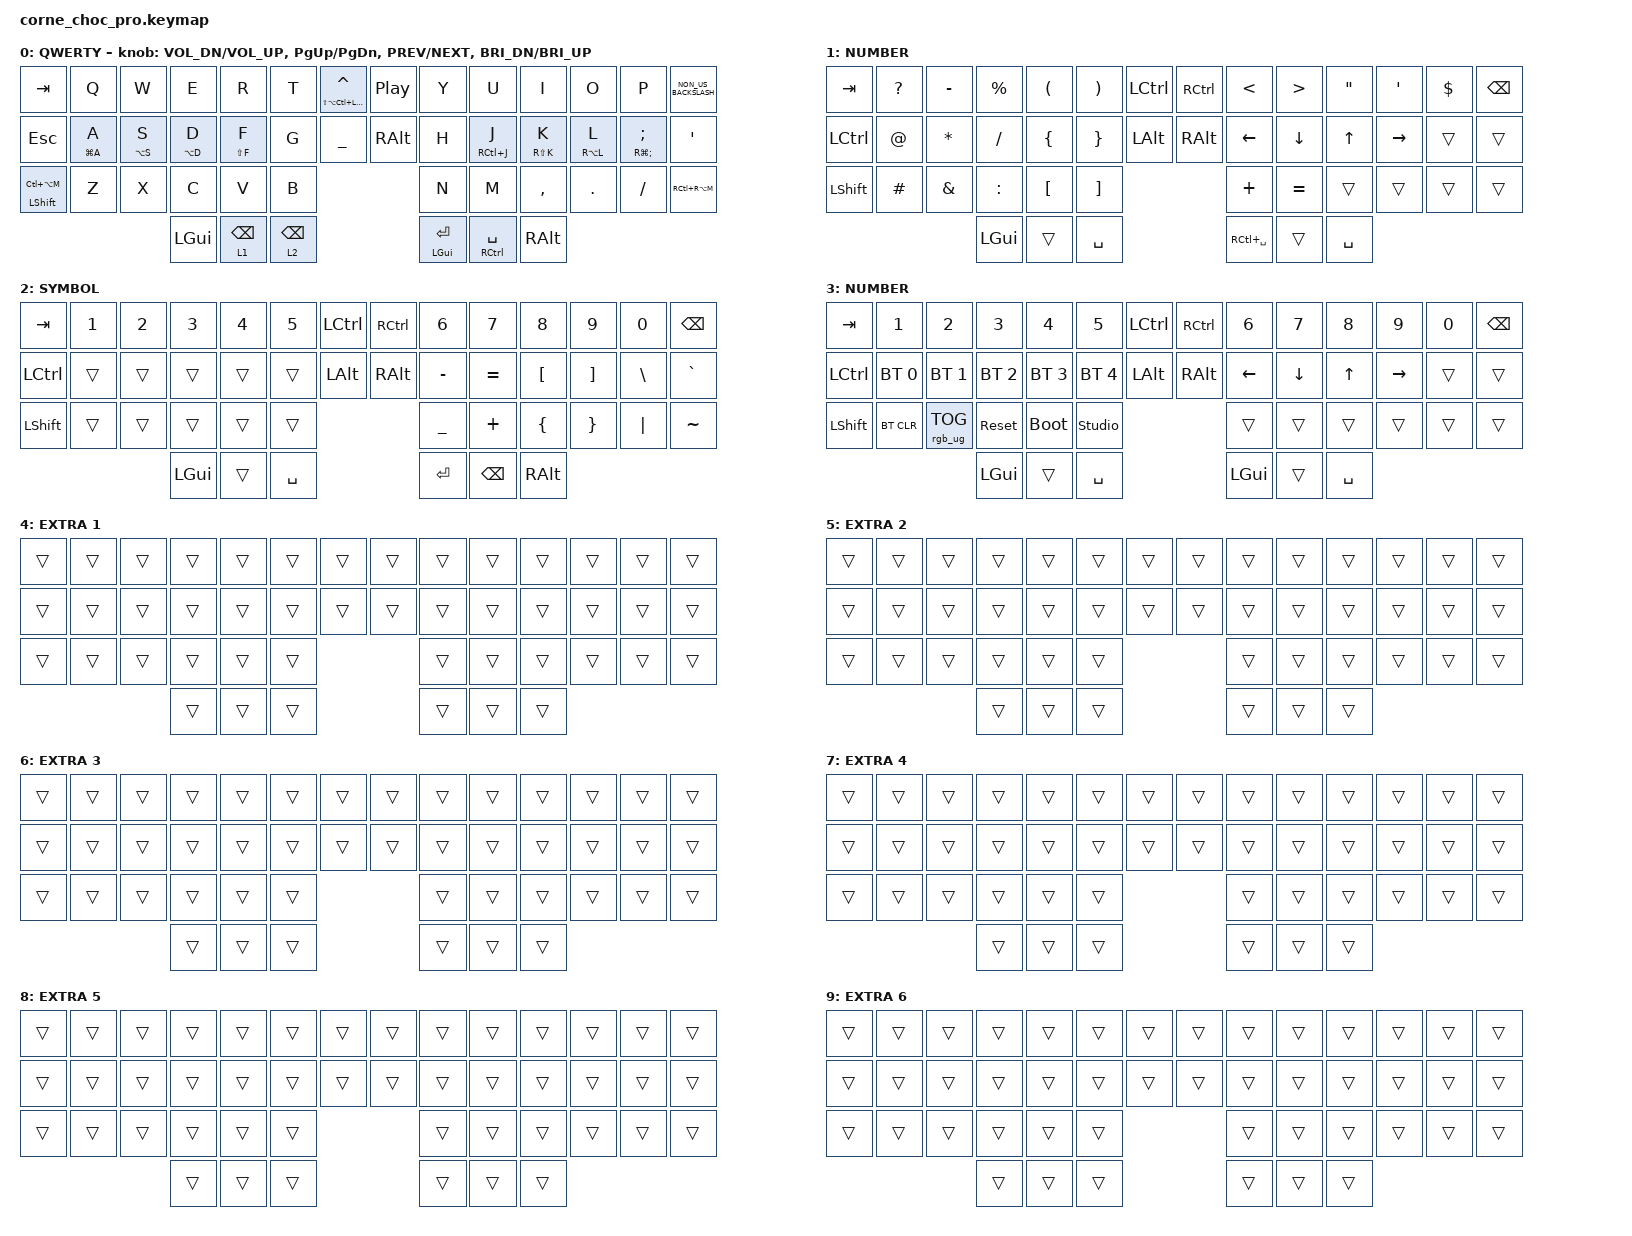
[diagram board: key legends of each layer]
/*
 * Copyright (c) 2020 The ZMK Contributors
 *
 * SPDX-License-Identifier: MIT
 */

#include <behaviors.dtsi>
#include <dt-bindings/zmk/bt.h>
#include <dt-bindings/zmk/keys.h>
#include <dt-bindings/zmk/rgb.h>

/ {
    chosen { zmk,physical-layout = &default_layout; };
};

/ {
    combos {
        compatible = "zmk,combos";

        cmd-space {
            bindings = <&kp RG(SPACE)>;
            key-positions = <42 43>;
        };

        boot {
            bindings = <&bootloader>;
            key-positions = <6 20 7 21>;
        };
    };

    behaviors {
        hmj: hmj {
            compatible = "zmk,behavior-hold-tap";
            label = "HMJ";
            bindings = <&kp>, <&kp>;

            #binding-cells = <2>;
            tapping-term-ms = <200>;
            quick-tap-ms = <175>;
            flavor = "tap-preferred";
        };
    };

    keymap {
        compatible = "zmk,keymap";

        default_layer {
            display-name = "QWERTY";

            // --------------------------------------------------------------------------------
            // |  TAB |  Q  |  W  |  E  |  R  |  T  |  MUTE |  PP   |  Y  |  U   |  I  |  O  |  P  | BSPC |
            // | CTRL |  A  |  S  |  D  |  F  |  G  |  LALT |  RALT |  H  |  J   |  K  |  L  |  ;  |  '   |
            // | SHFT |  Z  |  X  |  C  |  V  |  B  |               |  N  |  M   |  ,  |  .  |  /  | ESC  |
            //                    | GUI | LWR | SPC |               | ENT | RSE  | ALT |

            bindings = <
&kp TAB               &kp Q         &kp W         &kp E         &kp R            &kp T            &hmj LS(LA(LC(LGUI))) CARET  &kp C_PP  &kp Y             &kp U             &kp I         &kp O         &kp P               &kp NON_US_BACKSLASH
&kp ESCAPE            &hmj LG(A) A  &hmj LA(S) S  &hmj LA(D) D  &hmj LS(F) F     &kp G            &kp UNDERSCORE               &kp RALT  &kp H             &hmj RC(J) J      &hmj RS(K) K  &hmj RA(L) L  &hmj RG(SEMI) SEMI  &kp SQT
&hmj LSHFT LC(LA(M))  &kp Z         &kp X         &kp C         &kp V            &kp B                                                   &kp N             &kp M             &kp COMMA     &kp DOT       &kp FSLH            &kp RC(RA(M))
                                                  &kp LGUI      &lt 1 BACKSPACE  &lt 2 BACKSPACE                                         &hmj LGUI RETURN  &hmj RCTRL SPACE  &kp RALT
            >;

            sensor-bindings = <&inc_dec_kp C_VOL_DN C_VOL_UP &inc_dec_kp PG_UP PG_DN &inc_dec_kp C_PREV C_NEXT &inc_dec_kp C_BRI_DN C_BRI_UP>;
        };

        lower_layer {
            display-name = "NUMBER";

            // -----------------------------------------------------------------------------------------
            // |  TAB |  1  |  2  |  3  |  4  |  5    |  LCTRL | RCTRL |  6  |  7  |  8  |  9  |  0  | BSPC |
            // | CTRL | BT1 | BT2 | BT3 | BT4 | BT5   |  LALT  | RALT  | LFT | DWN |  UP | RGT |     |      |
            // | SHFT | BTCR| RGB | RST | BOOT| Unlock|        |       |     |     |     |     |     |      |
            //                    | GUI |     | SPC   |        | ENT   |     | ALT |

            bindings = <
&kp TAB    &kp QUESTION  &kp MINUS      &kp PERCENT  &kp LEFT_PARENTHESIS  &kp RIGHT_PARENTHESIS  &kp LCTRL  &kp RCTRL  &kp LESS_THAN  &kp GREATER_THAN  &kp DOUBLE_QUOTES  &kp SQT    &kp DOLLAR  &kp BSPC
&kp LCTRL  &kp AT_SIGN   &kp ASTERISK   &kp SLASH    &kp LEFT_BRACE        &kp RIGHT_BRACE        &kp LALT   &kp RALT   &kp LEFT       &kp DOWN          &kp UP             &kp RIGHT  &trans      &trans
&kp LSHFT  &kp HASH      &kp AMPERSAND  &kp COLON    &kp LEFT_BRACKET      &kp RIGHT_BRACKET                            &kp PLUS       &kp EQUAL         &trans             &trans     &trans      &trans
                                        &kp LGUI     &trans                &kp SPACE                                    &kp RC(SPACE)  &trans            &kp SPACE
            >;
        };

        raise_layer {
            display-name = "SYMBOL";

            // -----------------------------------------------------------------------------------------
            // |  TAB |  !  |  @  |  #  |  $  |  %  | LCTRL | RCTRL |  ^  |  &  |  *  |  (  |  )  | BSPC |
            // | CTRL |     |     |     |     |     |  LALT | RALT  |  -  |  =  |  [  |  ]  |  \  |  `   |
            // | SHFT |     |     |     |     |     |               |  _  |  +  |  {  |  }  | "|" |  ~   |
            //                    | GUI |     | SPC |               | ENT |     | ALT |

            bindings = <
&kp TAB    &kp NUMBER_1  &kp NUMBER_2  &kp NUMBER_3  &kp NUMBER_4  &kp N5     &kp LCTRL  &kp RCTRL  &kp NUMBER_6  &kp N7         &kp N8    &kp N9    &kp N0    &kp BSPC
&kp LCTRL  &trans        &trans        &trans        &trans        &trans     &kp LALT   &kp RALT   &kp MINUS     &kp EQUAL      &kp LBKT  &kp RBKT  &kp BSLH  &kp GRAVE
&kp LSHFT  &trans        &trans        &trans        &trans        &trans                           &kp UNDER     &kp PLUS       &kp LBRC  &kp RBRC  &kp PIPE  &kp TILDE
                                       &kp LGUI      &trans        &kp SPACE                        &kp RET       &kp BACKSPACE  &kp RALT
            >;
        };

        layer_9 {
            display-name = "NUMBER";
            bindings = <
&kp TAB    &kp N1        &kp N2           &kp N3        &kp N4        &kp N5          &kp LCTRL  &kp RCTRL  &kp N6    &kp N7    &kp N8     &kp N9     &kp N0  &kp BSPC
&kp LCTRL  &bt BT_SEL 0  &bt BT_SEL 1     &bt BT_SEL 2  &bt BT_SEL 3  &bt BT_SEL 4    &kp LALT   &kp RALT   &kp LEFT  &kp DOWN  &kp UP     &kp RIGHT  &trans  &trans
&kp LSHFT  &bt BT_CLR    &rgb_ug RGB_TOG  &sys_reset    &bootloader   &studio_unlock                        &trans    &trans    &trans     &trans     &trans  &trans
                                          &kp LGUI      &trans        &kp SPACE                             &kp LGUI  &trans    &kp SPACE
            >;
        };

        extra_layer_1 {
            display-name = "EXTRA 1";
            bindings = <
&trans  &trans  &trans  &trans  &trans  &trans  &trans  &trans  &trans  &trans  &trans  &trans  &trans  &trans
&trans  &trans  &trans  &trans  &trans  &trans  &trans  &trans  &trans  &trans  &trans  &trans  &trans  &trans
&trans  &trans  &trans  &trans  &trans  &trans                  &trans  &trans  &trans  &trans  &trans  &trans
                        &trans  &trans  &trans                  &trans  &trans  &trans
            >;
        };

        extra_layer_2 {
            display-name = "EXTRA 2";
            bindings = <
&trans  &trans  &trans  &trans  &trans  &trans  &trans  &trans  &trans  &trans  &trans  &trans  &trans  &trans
&trans  &trans  &trans  &trans  &trans  &trans  &trans  &trans  &trans  &trans  &trans  &trans  &trans  &trans
&trans  &trans  &trans  &trans  &trans  &trans                  &trans  &trans  &trans  &trans  &trans  &trans
                        &trans  &trans  &trans                  &trans  &trans  &trans
            >;
        };

        extra_layer_3 {
            display-name = "EXTRA 3";
            bindings = <
&trans  &trans  &trans  &trans  &trans  &trans  &trans  &trans  &trans  &trans  &trans  &trans  &trans  &trans
&trans  &trans  &trans  &trans  &trans  &trans  &trans  &trans  &trans  &trans  &trans  &trans  &trans  &trans
&trans  &trans  &trans  &trans  &trans  &trans                  &trans  &trans  &trans  &trans  &trans  &trans
                        &trans  &trans  &trans                  &trans  &trans  &trans
            >;
        };

        extra_layer_4 {
            display-name = "EXTRA 4";
            bindings = <
&trans  &trans  &trans  &trans  &trans  &trans  &trans  &trans  &trans  &trans  &trans  &trans  &trans  &trans
&trans  &trans  &trans  &trans  &trans  &trans  &trans  &trans  &trans  &trans  &trans  &trans  &trans  &trans
&trans  &trans  &trans  &trans  &trans  &trans                  &trans  &trans  &trans  &trans  &trans  &trans
                        &trans  &trans  &trans                  &trans  &trans  &trans
            >;
        };

        extra_layer_5 {
            display-name = "EXTRA 5";
            bindings = <
&trans  &trans  &trans  &trans  &trans  &trans  &trans  &trans  &trans  &trans  &trans  &trans  &trans  &trans
&trans  &trans  &trans  &trans  &trans  &trans  &trans  &trans  &trans  &trans  &trans  &trans  &trans  &trans
&trans  &trans  &trans  &trans  &trans  &trans                  &trans  &trans  &trans  &trans  &trans  &trans
                        &trans  &trans  &trans                  &trans  &trans  &trans
            >;
        };

        extra_layer_6 {
            display-name = "EXTRA 6";
            bindings = <
&trans  &trans  &trans  &trans  &trans  &trans  &trans  &trans  &trans  &trans  &trans  &trans  &trans  &trans
&trans  &trans  &trans  &trans  &trans  &trans  &trans  &trans  &trans  &trans  &trans  &trans  &trans  &trans
&trans  &trans  &trans  &trans  &trans  &trans                  &trans  &trans  &trans  &trans  &trans  &trans
                        &trans  &trans  &trans                  &trans  &trans  &trans
            >;
        };
    };
};
